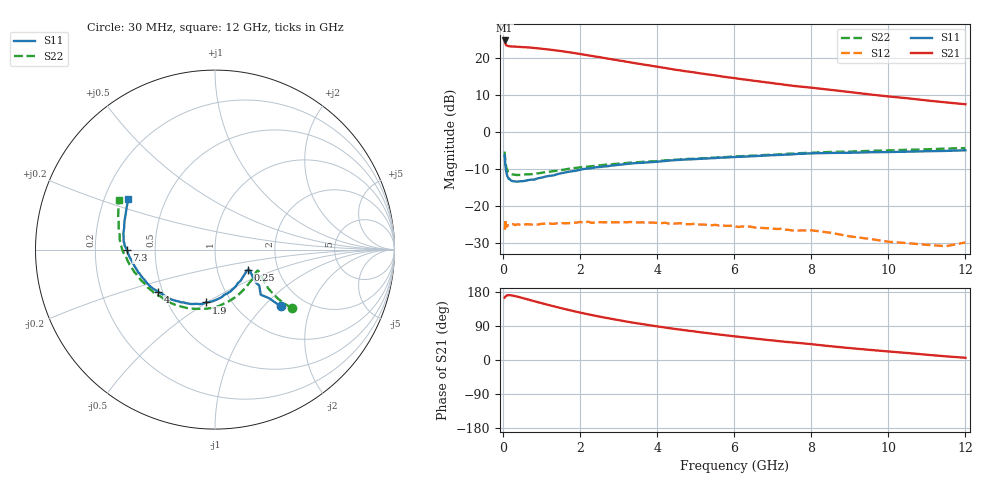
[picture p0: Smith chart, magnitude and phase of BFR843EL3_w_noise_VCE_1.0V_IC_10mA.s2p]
! Infineon Technologies  Discrete & RF Semiconductors
! BFR843EL3
! VCE =  1.0 V,  IC =  10 mA
! Common Emitter S-Parameters:  Aug 2013
# GHz  S  MA  R  50
!  f  S11  S21  S12  S22
! GHz  MAG  ANG  MAG  ANG  MAG  ANG  MAG  ANG
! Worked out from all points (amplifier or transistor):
!   103 points, 30 MHz to 12 GHz, reference 50 ohm
!   highest |S21| = 24.7 dB at 30 MHz (marker M1)
!   |S21| within 3 dB of that: start of sweep to 1.574 GHz
!   unconditionally stable (mu >= 1): 5.603 GHz to end of sweep
!   at 400 MHz: K = 0.99, MSG = 24.0 dB, |S12| = -25.0 dB
!   at 3.7 GHz: K = 0.84, MSG = 21.3 dB, |S12| = -24.6 dB
!   at 12 GHz: K = 2.90, MAG = 11.2 dB, |S12| = -29.9 dB
!   lowest NFmin = 0.89 dB at 450 MHz
!   S11 on the Smith chart (normalised r, x): 30 MHz: 1.53, -1.26; 250 MHz: 1.41, -0.33; 1.9 GHz: 0.77, -0.50; 4 GHz: 0.47, -0.26; 7.3 GHz: 0.34, -0.00; 12 GHz: 0.30, +0.25
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0.03  0.484 -40.8  17.22 164.5  0.0474 27.3  0.54 -37.4
0.04  0.4066 -41.9  16.23 165.8  0.049 22.7  0.4551 -38.0
0.06  0.3176 -39.1  15.18 168.2  0.0553 12.0  0.364 -36.0
0.1  0.254 -35.2  14.59 170.6  0.0539 8.9  0.3047 -30.5
0.15  0.2316 -31.7  14.37 171.2  0.0551 6.2  0.2773 -27.1
0.25  0.215 -31.2  14.25 169.7  0.0566 4.6  0.2639 -26.2
0.7  0.2251 -50.9  13.79 158.0  0.0559 2.9  0.2669 -45.0
1.2  0.2541 -74.6  12.94 144.4  0.0575 2.7  0.2891 -68.1
1.5  0.2753 -86.3  12.36 136.8  0.0582 1.1  0.3046 -80.0
1.9  0.2987 -99.6  11.49 127.2  0.0593 0.5  0.326 -93.3
2.1  0.3154 -105.5  11.05 122.7  0.0591 -0.2  0.3354 -100.3
2.5  0.3342 -115.6  10.22 114.5  0.06 -0.2  0.3518 -111.0
3  0.3585 -127.1  9.228 105.0  0.0596 -3.2  0.371 -122.0
3.5  0.3796 -136.5  8.362 96.4  0.0594 -4.0  0.3889 -131.7
4  0.3946 -143.7  7.589 88.6  0.0585 -5.9  0.4021 -139.7
4.1  0.399 -145.1  7.449 87.1  0.0582 -6.1  0.4058 -140.8
5.1  0.4314 -158.3  6.195 73.4  0.0557 -8.8  0.4353 -154.3
6.1  0.4589 -168.7  5.237 61.4  0.0515 -10.6  0.4672 -164.6
7.3  0.4906 -179.5  4.335 48.2  0.0475 -12.7  0.5005 -175.6
8.5  0.5185 169.7  3.699 36.3  0.0431 -14.7  0.5342 173.9
10.5  0.539 156.9  2.842 18.4  0.0312 -2.3  0.5717 160.7
12  0.5629 149.9  2.361 5.9  0.0319 22.7  0.6027 152.9
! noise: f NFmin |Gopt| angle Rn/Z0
0.45  0.89  0.06  61  0.12
0.9  0.91  0.07  70  0.12
1.5  0.93  0.08  78  0.12
1.9  0.95  0.08  82  0.12
2.4  0.96  0.09  94  0.12
3.5  0.99  0.11  109  0.11
5.5  1.05  0.17  142  0.11
8  1.12  0.28  177  0.07
10  1.17  0.4  212  0.06
